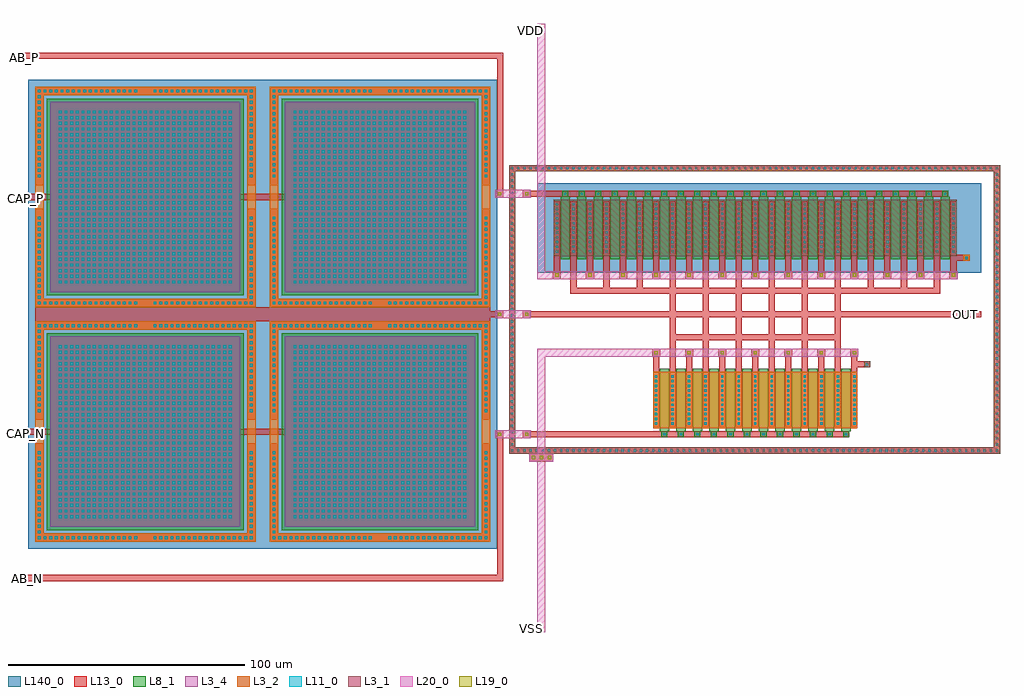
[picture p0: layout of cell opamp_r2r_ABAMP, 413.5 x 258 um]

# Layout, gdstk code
from math import pi, radians
import gdstk
lib = gdstk.Library(unit=1e-6, precision=1e-07)
def R(c, l, rs):  # rectangles x0, y0, x1, y1
    for r in rs: c.add(gdstk.rectangle(r[:2], r[2:], *l))
def A(c, l, x, y, w, h, nx, ny, dx, dy):  # array of equal rectangles
    R(c, l, [(x+i*dx, y+j*dy, x+i*dx+w, y+j*dy+h) for i in range(nx) for j in range(ny)])
def P(c, l, *ps):  # polygons
    for p in ps: c.add(gdstk.Polygon(p, *l))
L3_1 = (3, 1)
L3_2 = (3, 2)
L3_4 = (3, 4)
L8_1 = (8, 1)
L11_0 = (11, 0)
L13_0 = (13, 0)
L19_0 = (19, 0)
L20_0 = (20, 0)
L140_0 = (140, 0)

via_1 = lib.new_cell('via_1')
R(via_1, L13_0, [(-1.7,-1.7,1.7,1.7)])
R(via_1, L19_0, [(-0.7,-0.7,0.7,0.7)])
R(via_1, L20_0, [(-1.7,-1.7,1.7,1.7)])

cont_p = lib.new_cell('cont_p')
R(cont_p, L3_1, [(-1.3,-1.3,1.3,1.3)])
R(cont_p, L11_0, [(-0.5,-0.5,0.5,0.5)])
R(cont_p, L13_0, [(-1.3,-1.3,1.3,1.3)])

fet_p = lib.new_cell('fet_p')
R(fet_p, L3_1, [(-85.3,-12,85.3,12)])
A(fet_p, L11_0, -84.5, -10.5, 1, 1, 25, 11, 7, 2)
A(fet_p, L13_0, -85.3, -11.3, 2.6, 22.6, 25, 1, 7, 0)
fet_p.add(gdstk.FlexPath([(3.5,-13.2),(3.5,13.2)], 4, ends="flush", simple_path=True, layer=8, datatype=1))  # L8_1
fet_p.add(gdstk.FlexPath([(-3.5,-13.2),(-3.5,13.2)], 4, ends="flush", simple_path=True, layer=8, datatype=1))  # L8_1
fet_p.add(gdstk.FlexPath([(10.5,-13.2),(10.5,13.2)], 4, ends="flush", simple_path=True, layer=8, datatype=1))  # L8_1
fet_p.add(gdstk.FlexPath([(-10.5,-13.2),(-10.5,13.2)], 4, ends="flush", simple_path=True, layer=8, datatype=1))  # L8_1
fet_p.add(gdstk.FlexPath([(17.5,-13.2),(17.5,13.2)], 4, ends="flush", simple_path=True, layer=8, datatype=1))  # L8_1
fet_p.add(gdstk.FlexPath([(-17.5,-13.2),(-17.5,13.2)], 4, ends="flush", simple_path=True, layer=8, datatype=1))  # L8_1
fet_p.add(gdstk.FlexPath([(24.5,-13.2),(24.5,13.2)], 4, ends="flush", simple_path=True, layer=8, datatype=1))  # L8_1
fet_p.add(gdstk.FlexPath([(-24.5,-13.2),(-24.5,13.2)], 4, ends="flush", simple_path=True, layer=8, datatype=1))  # L8_1
fet_p.add(gdstk.FlexPath([(31.5,-13.2),(31.5,13.2)], 4, ends="flush", simple_path=True, layer=8, datatype=1))  # L8_1
fet_p.add(gdstk.FlexPath([(-31.5,-13.2),(-31.5,13.2)], 4, ends="flush", simple_path=True, layer=8, datatype=1))  # L8_1
fet_p.add(gdstk.FlexPath([(38.5,-13.2),(38.5,13.2)], 4, ends="flush", simple_path=True, layer=8, datatype=1))  # L8_1
fet_p.add(gdstk.FlexPath([(-38.5,-13.2),(-38.5,13.2)], 4, ends="flush", simple_path=True, layer=8, datatype=1))  # L8_1
fet_p.add(gdstk.FlexPath([(45.5,-13.2),(45.5,13.2)], 4, ends="flush", simple_path=True, layer=8, datatype=1))  # L8_1
fet_p.add(gdstk.FlexPath([(-45.5,-13.2),(-45.5,13.2)], 4, ends="flush", simple_path=True, layer=8, datatype=1))  # L8_1
fet_p.add(gdstk.FlexPath([(52.5,-13.2),(52.5,13.2)], 4, ends="flush", simple_path=True, layer=8, datatype=1))  # L8_1
fet_p.add(gdstk.FlexPath([(-52.5,-13.2),(-52.5,13.2)], 4, ends="flush", simple_path=True, layer=8, datatype=1))  # L8_1
fet_p.add(gdstk.FlexPath([(59.5,-13.2),(59.5,13.2)], 4, ends="flush", simple_path=True, layer=8, datatype=1))  # L8_1
fet_p.add(gdstk.FlexPath([(-59.5,-13.2),(-59.5,13.2)], 4, ends="flush", simple_path=True, layer=8, datatype=1))  # L8_1
fet_p.add(gdstk.FlexPath([(66.5,-13.2),(66.5,13.2)], 4, ends="flush", simple_path=True, layer=8, datatype=1))  # L8_1
fet_p.add(gdstk.FlexPath([(-66.5,-13.2),(-66.5,13.2)], 4, ends="flush", simple_path=True, layer=8, datatype=1))  # L8_1
fet_p.add(gdstk.FlexPath([(73.5,-13.2),(73.5,13.2)], 4, ends="flush", simple_path=True, layer=8, datatype=1))  # L8_1
fet_p.add(gdstk.FlexPath([(-73.5,-13.2),(-73.5,13.2)], 4, ends="flush", simple_path=True, layer=8, datatype=1))  # L8_1
fet_p.add(gdstk.FlexPath([(80.5,-13.2),(80.5,13.2)], 4, ends="flush", simple_path=True, layer=8, datatype=1))  # L8_1
fet_p.add(gdstk.FlexPath([(-80.5,-13.2),(-80.5,13.2)], 4, ends="flush", simple_path=True, layer=8, datatype=1))  # L8_1

cont_g = lib.new_cell('cont_g')
R(cont_g, L8_1, [(-1.3,-1.3,1.3,1.3)])
R(cont_g, L11_0, [(-0.5,-0.5,0.5,0.5)])
R(cont_g, L13_0, [(-1.3,-1.3,1.3,1.3)])

cont_n = lib.new_cell('cont_n')
R(cont_n, L3_2, [(-1.3,-1.3,1.3,1.3)])
R(cont_n, L11_0, [(-0.5,-0.5,0.5,0.5)])
R(cont_n, L13_0, [(-1.3,-1.3,1.3,1.3)])

moscap = lib.new_cell('moscap')
P(moscap, L3_2, [(-46.7,-46.7),(-46.7,43.1),(-43.1,43.1),(-43.1,-43.1),(43.1,-43.1),(43.1,43.1),(-46.7,43.1),(-46.7,46.7),(46.7,46.7),(46.7,-46.7)])
R(moscap, L3_4, [(-40.3,-40.3,40.3,40.3)])
R(moscap, L8_1, [(-41.7,-41.7,41.7,41.7)])
A(moscap, L11_0, -45.5, -45.5, 1.2, 1.2, 1, 18, 0, 2.4)
A(moscap, L11_0, -45.5, -45.5, 1.2, 1.2, 16, 2, 2.4, 89.8)
A(moscap, L11_0, 8.3, -45.5, 1.2, 1.2, 16, 2, 2.4, 89.8)
A(moscap, L11_0, 44.3, -45.5, 1.2, 1.2, 1, 18, 0, 2.4)
A(moscap, L11_0, -36.6, -36.6, 1.2, 1.2, 31, 31, 2.4, 2.4)
A(moscap, L11_0, -45.5, 3.5, 1.2, 1.2, 1, 18, 0, 2.4)
A(moscap, L11_0, 44.3, 3.5, 1.2, 1.2, 1, 18, 0, 2.4)
R(moscap, L13_0, [(-40.3,-40.3,40.3,40.3)])
P(moscap, L13_0, [(-46.7,-46.7),(-46.7,46.7),(-5,46.7),(-5,43.1),(-43.1,43.1),(-43.1,-43.1),(-5,-43.1),(-5,-46.7)],
  [(5,-46.7),(5,-43.1),(43.1,-43.1),(43.1,43.1),(5,43.1),(5,46.7),(46.7,46.7),(46.7,-46.7)])
R(moscap, L140_0, [(-49.7,-49.7,49.7,49.7)])

fet_n = lib.new_cell('fet_n')
R(fet_n, L3_2, [(-43.3,-12,43.3,12)])
A(fet_n, L11_0, -42.5, -10.5, 1, 1, 13, 11, 7, 2)
A(fet_n, L13_0, -43.3, -11.3, 2.6, 22.6, 13, 1, 7, 0)
fet_n.add(gdstk.FlexPath([(3.5,-13.2),(3.5,13.2)], 4, ends="flush", simple_path=True, layer=8, datatype=1))  # L8_1
fet_n.add(gdstk.FlexPath([(-3.5,-13.2),(-3.5,13.2)], 4, ends="flush", simple_path=True, layer=8, datatype=1))  # L8_1
fet_n.add(gdstk.FlexPath([(10.5,-13.2),(10.5,13.2)], 4, ends="flush", simple_path=True, layer=8, datatype=1))  # L8_1
fet_n.add(gdstk.FlexPath([(-10.5,-13.2),(-10.5,13.2)], 4, ends="flush", simple_path=True, layer=8, datatype=1))  # L8_1
fet_n.add(gdstk.FlexPath([(17.5,-13.2),(17.5,13.2)], 4, ends="flush", simple_path=True, layer=8, datatype=1))  # L8_1
fet_n.add(gdstk.FlexPath([(-17.5,-13.2),(-17.5,13.2)], 4, ends="flush", simple_path=True, layer=8, datatype=1))  # L8_1
fet_n.add(gdstk.FlexPath([(24.5,-13.2),(24.5,13.2)], 4, ends="flush", simple_path=True, layer=8, datatype=1))  # L8_1
fet_n.add(gdstk.FlexPath([(-24.5,-13.2),(-24.5,13.2)], 4, ends="flush", simple_path=True, layer=8, datatype=1))  # L8_1
fet_n.add(gdstk.FlexPath([(31.5,-13.2),(31.5,13.2)], 4, ends="flush", simple_path=True, layer=8, datatype=1))  # L8_1
fet_n.add(gdstk.FlexPath([(-31.5,-13.2),(-31.5,13.2)], 4, ends="flush", simple_path=True, layer=8, datatype=1))  # L8_1
fet_n.add(gdstk.FlexPath([(38.5,-13.2),(38.5,13.2)], 4, ends="flush", simple_path=True, layer=8, datatype=1))  # L8_1
fet_n.add(gdstk.FlexPath([(-38.5,-13.2),(-38.5,13.2)], 4, ends="flush", simple_path=True, layer=8, datatype=1))  # L8_1

opamp_r2r_abamp = lib.new_cell('opamp_r2r_ABAMP')
R(opamp_r2r_abamp, L13_0, [(-255.7,-18,-62.9,-12)])
R(opamp_r2r_abamp, L140_0, [(-42.9,2.6,145.2,40.6)])
opamp_r2r_abamp.add(gdstk.FlexPath([(-27.6,10.3),(-27.6,-3.7)], 2.6, ends="flush", simple_path=True, layer=13, datatype=0))  # L13_0
opamp_r2r_abamp.add(gdstk.FlexPath([(-13.6,10.3),(-13.6,-3.7)], 2.6, ends="flush", simple_path=True, layer=13, datatype=0))  # L13_0
opamp_r2r_abamp.add(gdstk.FlexPath([(0.4,10.3),(0.4,-3.7)], 2.6, ends="flush", simple_path=True, layer=13, datatype=0))  # L13_0
opamp_r2r_abamp.add(gdstk.FlexPath([(14.4,10.3),(14.4,-3.7)], 2.6, ends="flush", simple_path=True, layer=13, datatype=0))  # L13_0
opamp_r2r_abamp.add(gdstk.FlexPath([(28.4,10.3),(28.4,-3.7)], 2.6, ends="flush", simple_path=True, layer=13, datatype=0))  # L13_0
opamp_r2r_abamp.add(gdstk.FlexPath([(42.4,10.3),(42.4,-3.7)], 2.6, ends="flush", simple_path=True, layer=13, datatype=0))  # L13_0
opamp_r2r_abamp.add(gdstk.FlexPath([(56.4,10.3),(56.4,-3.7)], 2.6, ends="flush", simple_path=True, layer=13, datatype=0))  # L13_0
opamp_r2r_abamp.add(gdstk.FlexPath([(70.4,10.3),(70.4,-3.7)], 2.6, ends="flush", simple_path=True, layer=13, datatype=0))  # L13_0
opamp_r2r_abamp.add(gdstk.FlexPath([(84.4,10.3),(84.4,-3.7)], 2.6, ends="flush", simple_path=True, layer=13, datatype=0))  # L13_0
opamp_r2r_abamp.add(gdstk.FlexPath([(98.4,10.3),(98.4,-3.7)], 2.6, ends="flush", simple_path=True, layer=13, datatype=0))  # L13_0
opamp_r2r_abamp.add(gdstk.FlexPath([(112.4,10.3),(112.4,-3.7)], 2.6, ends="flush", simple_path=True, layer=13, datatype=0))  # L13_0
opamp_r2r_abamp.add(gdstk.FlexPath([(126.4,10.3),(126.4,-3.7)], 2.6, ends="flush", simple_path=True, layer=13, datatype=0))  # L13_0
opamp_r2r_abamp.add(gdstk.FlexPath([(7.4,-33),(7.4,-40)], 2.6, ends="flush", simple_path=True, layer=13, datatype=0))  # L13_0
opamp_r2r_abamp.add(gdstk.FlexPath([(21.4,-33),(21.4,-40)], 2.6, ends="flush", simple_path=True, layer=13, datatype=0))  # L13_0
opamp_r2r_abamp.add(gdstk.FlexPath([(35.4,-33),(35.4,-40)], 2.6, ends="flush", simple_path=True, layer=13, datatype=0))  # L13_0
opamp_r2r_abamp.add(gdstk.FlexPath([(49.4,-33),(49.4,-40)], 2.6, ends="flush", simple_path=True, layer=13, datatype=0))  # L13_0
opamp_r2r_abamp.add(gdstk.FlexPath([(63.4,-33),(63.4,-40)], 2.6, ends="flush", simple_path=True, layer=13, datatype=0))  # L13_0
opamp_r2r_abamp.add(gdstk.FlexPath([(77.4,-33),(77.4,-40)], 2.6, ends="flush", simple_path=True, layer=13, datatype=0))  # L13_0
opamp_r2r_abamp.add(gdstk.FlexPath([(91.4,-33),(91.4,-40)], 2.6, ends="flush", simple_path=True, layer=13, datatype=0))  # L13_0
opamp_r2r_abamp.add(gdstk.FlexPath([(14.4,-26),(14.4,-40)], 2.6, ends="flush", simple_path=True, layer=13, datatype=0))  # L13_0
opamp_r2r_abamp.add(gdstk.FlexPath([(28.4,-26),(28.4,-40)], 2.6, ends="flush", simple_path=True, layer=13, datatype=0))  # L13_0
opamp_r2r_abamp.add(gdstk.FlexPath([(42.4,-26),(42.4,-40)], 2.6, ends="flush", simple_path=True, layer=13, datatype=0))  # L13_0
opamp_r2r_abamp.add(gdstk.FlexPath([(56.4,-26),(56.4,-40)], 2.6, ends="flush", simple_path=True, layer=13, datatype=0))  # L13_0
opamp_r2r_abamp.add(gdstk.FlexPath([(70.4,-26),(70.4,-40)], 2.6, ends="flush", simple_path=True, layer=13, datatype=0))  # L13_0
opamp_r2r_abamp.add(gdstk.FlexPath([(84.4,-26),(84.4,-40)], 2.6, ends="flush", simple_path=True, layer=13, datatype=0))  # L13_0
opamp_r2r_abamp.add(gdstk.FlexPath([(-32.4,36.1),(131.2,36.1)], 2.6, ends="flush", simple_path=True, layer=13, datatype=0))  # L13_0
opamp_r2r_abamp.add(gdstk.FlexPath([(9.6,-65.8),(89.2,-65.8)], 2.6, ends="flush", simple_path=True, layer=13, datatype=0))  # L13_0
opamp_r2r_abamp.add(gdstk.FlexPath([(127.7,-5),(-28.9,-5)], 2.6, ends="flush", simple_path=True, layer=13, datatype=0))  # L13_0
opamp_r2r_abamp.add(gdstk.FlexPath([(13.1,-24.7),(85.7,-24.7)], 2.6, ends="flush", simple_path=True, layer=13, datatype=0))  # L13_0
opamp_r2r_abamp.add(gdstk.FlexPath([(14.4,-3.7),(14.4,-26)], 2.6, ends="flush", simple_path=True, layer=13, datatype=0))  # L13_0
opamp_r2r_abamp.add(gdstk.FlexPath([(28.4,-3.7),(28.4,-26)], 2.6, ends="flush", simple_path=True, layer=13, datatype=0))  # L13_0
opamp_r2r_abamp.add(gdstk.FlexPath([(42.4,-3.7),(42.4,-26)], 2.6, ends="flush", simple_path=True, layer=13, datatype=0))  # L13_0
opamp_r2r_abamp.add(gdstk.FlexPath([(56.4,-3.7),(56.4,-26)], 2.6, ends="flush", simple_path=True, layer=13, datatype=0))  # L13_0
opamp_r2r_abamp.add(gdstk.FlexPath([(70.4,-3.7),(70.4,-26)], 2.6, ends="flush", simple_path=True, layer=13, datatype=0))  # L13_0
opamp_r2r_abamp.add(gdstk.FlexPath([(84.4,-3.7),(84.4,-26)], 2.6, ends="flush", simple_path=True, layer=13, datatype=0))  # L13_0
opamp_r2r_abamp.add(gdstk.FlexPath([(13.1,-15),(145.1,-15)], 2.6, ends="flush", simple_path=True, layer=13, datatype=0))  # L13_0
opamp_r2r_abamp.add(gdstk.FlexPath([(98.1,-36.2),(92.7,-36.2)], 2.6, ends="flush", simple_path=True, layer=13, datatype=0))  # L13_0
opamp_r2r_abamp.add(gdstk.FlexPath([(140.2,8.9),(134.7,8.9)], 2.6, ends="flush", simple_path=True, layer=13, datatype=0))  # L13_0
opamp_r2r_abamp.add(gdstk.FlexPath([(-34.6,10.3),(-34.6,3.3)], 2.6, ends="flush", simple_path=True, layer=13, datatype=0))  # L13_0
opamp_r2r_abamp.add(gdstk.FlexPath([(-20.6,10.3),(-20.6,3.3)], 2.6, ends="flush", simple_path=True, layer=13, datatype=0))  # L13_0
opamp_r2r_abamp.add(gdstk.FlexPath([(-6.6,10.3),(-6.6,3.3)], 2.6, ends="flush", simple_path=True, layer=13, datatype=0))  # L13_0
opamp_r2r_abamp.add(gdstk.FlexPath([(7.4,10.3),(7.4,3.3)], 2.6, ends="flush", simple_path=True, layer=13, datatype=0))  # L13_0
opamp_r2r_abamp.add(gdstk.FlexPath([(21.4,10.3),(21.4,3.3)], 2.6, ends="flush", simple_path=True, layer=13, datatype=0))  # L13_0
opamp_r2r_abamp.add(gdstk.FlexPath([(35.4,10.3),(35.4,3.3)], 2.6, ends="flush", simple_path=True, layer=13, datatype=0))  # L13_0
opamp_r2r_abamp.add(gdstk.FlexPath([(49.4,10.3),(49.4,3.3)], 2.6, ends="flush", simple_path=True, layer=13, datatype=0))  # L13_0
opamp_r2r_abamp.add(gdstk.FlexPath([(63.4,10.3),(63.4,3.3)], 2.6, ends="flush", simple_path=True, layer=13, datatype=0))  # L13_0
opamp_r2r_abamp.add(gdstk.FlexPath([(77.4,10.3),(77.4,3.3)], 2.6, ends="flush", simple_path=True, layer=13, datatype=0))  # L13_0
opamp_r2r_abamp.add(gdstk.FlexPath([(91.4,10.3),(91.4,3.3)], 2.6, ends="flush", simple_path=True, layer=13, datatype=0))  # L13_0
opamp_r2r_abamp.add(gdstk.FlexPath([(105.4,10.3),(105.4,3.3)], 2.6, ends="flush", simple_path=True, layer=13, datatype=0))  # L13_0
opamp_r2r_abamp.add(gdstk.FlexPath([(119.4,10.3),(119.4,3.3)], 2.6, ends="flush", simple_path=True, layer=13, datatype=0))  # L13_0
opamp_r2r_abamp.add(gdstk.FlexPath([(133.4,10.3),(133.4,3.3)], 2.6, ends="flush", simple_path=True, layer=13, datatype=0))  # L13_0
opamp_r2r_abamp.add(gdstk.FlexPath([(24.7,-15),(-49.1,-15)], 2.6, ends="flush", simple_path=True, layer=13, datatype=0))  # L13_0
opamp_r2r_abamp.add(gdstk.FlexPath([(-32.4,36.1),(-49.1,36.1)], 2.6, ends="flush", simple_path=True, layer=13, datatype=0))  # L13_0
opamp_r2r_abamp.add(gdstk.FlexPath([(-260.4,94.6),(-58.6,94.6),(-58.6,36.2)], 2.6, ends="flush", simple_path=True, layer=13, datatype=0))  # L13_0
opamp_r2r_abamp.add(gdstk.FlexPath([(-57.3,-15),(-68,-15)], 2.6, ends="flush", simple_path=True, layer=13, datatype=0))  # L13_0
opamp_r2r_abamp.add(gdstk.FlexPath([(-260.4,-126.7),(-58.6,-126.7),(-58.6,-65.8)], 2.6, ends="flush", simple_path=True, layer=13, datatype=0))  # L13_0
opamp_r2r_abamp.add(gdstk.FlexPath([(-49.1,-65.8),(9.6,-65.8)], 2.6, ends="flush", simple_path=True, layer=13, datatype=0))  # L13_0
opamp_r2r_abamp.add(gdstk.FlexPath([(-69.2,34.7),(-260.4,34.7)], 2.6, ends="flush", simple_path=True, layer=13, datatype=0))  # L13_0
opamp_r2r_abamp.add(gdstk.FlexPath([(-69.2,-64.7),(-260.4,-64.7)], 2.6, ends="flush", simple_path=True, layer=13, datatype=0))  # L13_0
opamp_r2r_abamp.add(gdstk.FlexPath([(-36.3,1.6),(135.1,1.6)], 3.4, ends="flush", simple_path=True, layer=20, datatype=0))  # L20_0
opamp_r2r_abamp.add(gdstk.FlexPath([(5.7,-31.3),(93.1,-31.3)], 3.4, ends="flush", simple_path=True, layer=20, datatype=0))  # L20_0
opamp_r2r_abamp.add(gdstk.FlexPath([(-36.3,1.6),(-41.2,1.6),(-41.2,108.2)], 3.4, ends="flush", simple_path=True, layer=20, datatype=0))  # L20_0
opamp_r2r_abamp.add(gdstk.FlexPath([(5.7,-31.3),(-41.2,-31.3),(-41.2,-149.8)], 3.4, ends="flush", simple_path=True, layer=20, datatype=0))  # L20_0
opamp_r2r_abamp.add(gdstk.FlexPath([(-45.7,36.1),(-60.7,36.1)], 3.4, ends="flush", simple_path=True, layer=20, datatype=0))  # L20_0
opamp_r2r_abamp.add(gdstk.FlexPath([(-45.7,-15),(-60.7,-15)], 3.4, ends="flush", simple_path=True, layer=20, datatype=0))  # L20_0
opamp_r2r_abamp.add(gdstk.FlexPath([(-45.7,-65.8),(-60.7,-65.8)], 3.4, ends="flush", simple_path=True, layer=20, datatype=0))  # L20_0
opamp_r2r_abamp.add(gdstk.Reference(via_1, (-47.4,-15)))
opamp_r2r_abamp.add(gdstk.Reference(via_1, (-59,-15)))
opamp_r2r_abamp.add(gdstk.Reference(cont_p, (-53.6,46.9)))
opamp_r2r_abamp.add(gdstk.Reference(cont_p, (-53.6,44.3)))
opamp_r2r_abamp.add(gdstk.Reference(cont_p, (-53.6,41.7)))
opamp_r2r_abamp.add(gdstk.Reference(cont_p, (-53.6,39.1)))
opamp_r2r_abamp.add(gdstk.Reference(cont_p, (-53.6,36.5)))
opamp_r2r_abamp.add(gdstk.Reference(cont_p, (-53.6,33.9)))
opamp_r2r_abamp.add(gdstk.Reference(cont_p, (-53.6,31.3)))
opamp_r2r_abamp.add(gdstk.Reference(cont_p, (-53.6,28.7)))
opamp_r2r_abamp.add(gdstk.Reference(cont_p, (-53.6,26.1)))
opamp_r2r_abamp.add(gdstk.Reference(cont_p, (-53.6,23.5)))
opamp_r2r_abamp.add(gdstk.Reference(cont_p, (-53.6,20.9)))
opamp_r2r_abamp.add(gdstk.Reference(cont_p, (-53.6,18.3)))
opamp_r2r_abamp.add(gdstk.Reference(cont_p, (-53.6,15.7)))
opamp_r2r_abamp.add(gdstk.Reference(cont_p, (-53.6,13.1)))
opamp_r2r_abamp.add(gdstk.Reference(cont_p, (-53.6,10.5)))
opamp_r2r_abamp.add(gdstk.Reference(cont_p, (-53.6,7.9)))
opamp_r2r_abamp.add(gdstk.Reference(cont_p, (-53.6,5.3)))
opamp_r2r_abamp.add(gdstk.Reference(cont_p, (-53.6,2.7)))
opamp_r2r_abamp.add(gdstk.Reference(cont_p, (-53.6,0.1)))
opamp_r2r_abamp.add(gdstk.Reference(cont_p, (-53.6,-2.5)))
opamp_r2r_abamp.add(gdstk.Reference(cont_p, (-53.6,-5.1)))
opamp_r2r_abamp.add(gdstk.Reference(cont_p, (-53.6,-7.7)))
opamp_r2r_abamp.add(gdstk.Reference(cont_p, (-53.6,-10.3)))
opamp_r2r_abamp.add(gdstk.Reference(cont_p, (-53.6,-12.9)))
opamp_r2r_abamp.add(gdstk.Reference(cont_p, (-53.6,-15.5)))
opamp_r2r_abamp.add(gdstk.Reference(cont_p, (-53.6,-18.1)))
opamp_r2r_abamp.add(gdstk.Reference(cont_p, (-53.6,-20.7)))
opamp_r2r_abamp.add(gdstk.Reference(cont_p, (-53.6,-23.3)))
opamp_r2r_abamp.add(gdstk.Reference(cont_p, (-53.6,-25.9)))
opamp_r2r_abamp.add(gdstk.Reference(cont_p, (-53.6,-28.5)))
opamp_r2r_abamp.add(gdstk.Reference(cont_p, (-53.6,-31.1)))
opamp_r2r_abamp.add(gdstk.Reference(cont_p, (-53.6,-33.7)))
opamp_r2r_abamp.add(gdstk.Reference(cont_p, (-53.6,-36.3)))
opamp_r2r_abamp.add(gdstk.Reference(cont_p, (-53.6,-38.9)))
opamp_r2r_abamp.add(gdstk.Reference(cont_p, (-53.6,-41.5)))
opamp_r2r_abamp.add(gdstk.Reference(cont_p, (-53.6,-44.1)))
opamp_r2r_abamp.add(gdstk.Reference(cont_p, (-53.6,-46.7)))
opamp_r2r_abamp.add(gdstk.Reference(cont_p, (-53.6,-49.3)))
opamp_r2r_abamp.add(gdstk.Reference(cont_p, (-53.6,-51.9)))
opamp_r2r_abamp.add(gdstk.Reference(cont_p, (-53.6,-54.5)))
opamp_r2r_abamp.add(gdstk.Reference(cont_p, (-53.6,-57.1)))
opamp_r2r_abamp.add(gdstk.Reference(cont_p, (-53.6,-59.7)))
opamp_r2r_abamp.add(gdstk.Reference(cont_p, (-53.6,-62.3)))
opamp_r2r_abamp.add(gdstk.Reference(cont_p, (-53.6,-64.9)))
opamp_r2r_abamp.add(gdstk.Reference(cont_p, (-53.6,-67.5)))
opamp_r2r_abamp.add(gdstk.Reference(cont_p, (-53.6,-70.1)))
opamp_r2r_abamp.add(gdstk.Reference(cont_p, (-53.6,-72.7)))
opamp_r2r_abamp.add(gdstk.Reference(cont_p, (151.8,-15.5)))
opamp_r2r_abamp.add(gdstk.Reference(cont_p, (50.4,46.9)))
opamp_r2r_abamp.add(gdstk.Reference(via_1, (49.4,1.6)))
opamp_r2r_abamp.add(gdstk.Reference(via_1, (-47.4,36.1)))
opamp_r2r_abamp.add(gdstk.Reference(fet_p, (49.4,21.6)))
opamp_r2r_abamp.add(gdstk.Reference(cont_p, (151.8,33.9)))
opamp_r2r_abamp.add(gdstk.Reference(cont_p, (63.4,46.9)))
opamp_r2r_abamp.add(gdstk.Reference(cont_p, (66,46.9)))
opamp_r2r_abamp.add(gdstk.Reference(cont_p, (68.6,46.9)))
opamp_r2r_abamp.add(gdstk.Reference(cont_p, (71.2,46.9)))
opamp_r2r_abamp.add(gdstk.Reference(cont_p, (73.8,46.9)))
opamp_r2r_abamp.add(gdstk.Reference(cont_p, (76.4,46.9)))
opamp_r2r_abamp.add(gdstk.Reference(cont_p, (79,46.9)))
opamp_r2r_abamp.add(gdstk.Reference(cont_p, (81.6,46.9)))
opamp_r2r_abamp.add(gdstk.Reference(cont_p, (84.2,46.9)))
opamp_r2r_abamp.add(gdstk.Reference(cont_p, (86.8,46.9)))
opamp_r2r_abamp.add(gdstk.Reference(cont_p, (89.4,46.9)))
opamp_r2r_abamp.add(gdstk.Reference(cont_p, (92,46.9)))
opamp_r2r_abamp.add(gdstk.Reference(cont_p, (94.6,46.9)))
opamp_r2r_abamp.add(gdstk.Reference(cont_p, (97.2,46.9)))
opamp_r2r_abamp.add(gdstk.Reference(cont_p, (99.8,46.9)))
opamp_r2r_abamp.add(gdstk.Reference(cont_p, (102.4,46.9)))
opamp_r2r_abamp.add(gdstk.Reference(cont_p, (105,46.9)))
opamp_r2r_abamp.add(gdstk.Reference(cont_p, (107.6,46.9)))
opamp_r2r_abamp.add(gdstk.Reference(cont_p, (110.2,46.9)))
opamp_r2r_abamp.add(gdstk.Reference(cont_p, (112.8,46.9)))
opamp_r2r_abamp.add(gdstk.Reference(cont_p, (115.4,46.9)))
opamp_r2r_abamp.add(gdstk.Reference(cont_p, (118,46.9)))
opamp_r2r_abamp.add(gdstk.Reference(cont_p, (120.6,46.9)))
opamp_r2r_abamp.add(gdstk.Reference(cont_p, (123.2,46.9)))
opamp_r2r_abamp.add(gdstk.Reference(cont_p, (125.8,46.9)))
opamp_r2r_abamp.add(gdstk.Reference(cont_p, (128.4,46.9)))
opamp_r2r_abamp.add(gdstk.Reference(cont_p, (131,46.9)))
opamp_r2r_abamp.add(gdstk.Reference(cont_p, (133.6,46.9)))
opamp_r2r_abamp.add(gdstk.Reference(cont_p, (136.2,46.9)))
opamp_r2r_abamp.add(gdstk.Reference(cont_p, (138.8,46.9)))
opamp_r2r_abamp.add(gdstk.Reference(cont_p, (141.4,46.9)))
opamp_r2r_abamp.add(gdstk.Reference(cont_p, (144,46.9)))
opamp_r2r_abamp.add(gdstk.Reference(cont_p, (146.6,46.9)))
opamp_r2r_abamp.add(gdstk.Reference(cont_p, (149.2,46.9)))
opamp_r2r_abamp.add(gdstk.Reference(cont_p, (151.8,46.9)))
opamp_r2r_abamp.add(gdstk.Reference(cont_g, (52.9,36.1)))
opamp_r2r_abamp.add(gdstk.Reference(cont_g, (66.9,36.1)))
opamp_r2r_abamp.add(gdstk.Reference(cont_g, (80.9,36.1)))
opamp_r2r_abamp.add(gdstk.Reference(cont_g, (94.9,36.1)))
opamp_r2r_abamp.add(gdstk.Reference(cont_g, (108.9,36.1)))
opamp_r2r_abamp.add(gdstk.Reference(cont_g, (122.9,36.1)))
opamp_r2r_abamp.add(gdstk.Reference(cont_g, (59.9,36.1)))
opamp_r2r_abamp.add(gdstk.Reference(cont_g, (73.9,36.1)))
opamp_r2r_abamp.add(gdstk.Reference(cont_g, (87.9,36.1)))
opamp_r2r_abamp.add(gdstk.Reference(cont_g, (101.9,36.1)))
opamp_r2r_abamp.add(gdstk.Reference(cont_g, (115.9,36.1)))
opamp_r2r_abamp.add(gdstk.Reference(cont_g, (129.9,36.1)))
opamp_r2r_abamp.add(gdstk.Reference(cont_p, (53,46.9)))
opamp_r2r_abamp.add(gdstk.Reference(cont_p, (55.6,46.9)))
opamp_r2r_abamp.add(gdstk.Reference(cont_p, (58.2,46.9)))
opamp_r2r_abamp.add(gdstk.Reference(cont_p, (151.8,44.3)))
opamp_r2r_abamp.add(gdstk.Reference(cont_p, (151.8,41.7)))
opamp_r2r_abamp.add(gdstk.Reference(cont_p, (151.8,39.1)))
opamp_r2r_abamp.add(gdstk.Reference(cont_p, (151.8,36.5)))
opamp_r2r_abamp.add(gdstk.Reference(cont_p, (60.8,46.9)))
opamp_r2r_abamp.add(gdstk.Reference(cont_p, (45.2,46.9)))
opamp_r2r_abamp.add(gdstk.Reference(cont_p, (47.8,46.9)))
opamp_r2r_abamp.add(gdstk.Reference(cont_p, (-30.2,46.9)))
opamp_r2r_abamp.add(gdstk.Reference(cont_p, (-27.6,46.9)))
opamp_r2r_abamp.add(gdstk.Reference(cont_p, (-25,46.9)))
opamp_r2r_abamp.add(gdstk.Reference(cont_p, (-22.4,46.9)))
opamp_r2r_abamp.add(gdstk.Reference(cont_p, (-19.8,46.9)))
opamp_r2r_abamp.add(gdstk.Reference(cont_p, (-17.2,46.9)))
opamp_r2r_abamp.add(gdstk.Reference(cont_p, (-14.6,46.9)))
opamp_r2r_abamp.add(gdstk.Reference(cont_p, (-12,46.9)))
opamp_r2r_abamp.add(gdstk.Reference(cont_p, (-9.4,46.9)))
opamp_r2r_abamp.add(gdstk.Reference(cont_g, (-17.1,36.1)))
opamp_r2r_abamp.add(gdstk.Reference(cont_g, (-3.1,36.1)))
opamp_r2r_abamp.add(gdstk.Reference(cont_g, (10.9,36.1)))
opamp_r2r_abamp.add(gdstk.Reference(cont_g, (24.9,36.1)))
opamp_r2r_abamp.add(gdstk.Reference(cont_g, (38.9,36.1)))
opamp_r2r_abamp.add(gdstk.Reference(cont_p, (-6.8,46.9)))
opamp_r2r_abamp.add(gdstk.Reference(cont_p, (-4.2,46.9)))
opamp_r2r_abamp.add(gdstk.Reference(cont_p, (-1.6,46.9)))
opamp_r2r_abamp.add(gdstk.Reference(cont_p, (1,46.9)))
opamp_r2r_abamp.add(gdstk.Reference(cont_p, (3.6,46.9)))
opamp_r2r_abamp.add(gdstk.Reference(cont_p, (6.2,46.9)))
opamp_r2r_abamp.add(gdstk.Reference(cont_g, (-24.1,36.1)))
opamp_r2r_abamp.add(gdstk.Reference(cont_g, (-10.1,36.1)))
opamp_r2r_abamp.add(gdstk.Reference(cont_g, (3.9,36.1)))
opamp_r2r_abamp.add(gdstk.Reference(cont_g, (17.9,36.1)))
opamp_r2r_abamp.add(gdstk.Reference(cont_g, (31.9,36.1)))
opamp_r2r_abamp.add(gdstk.Reference(cont_g, (45.9,36.1)))
opamp_r2r_abamp.add(gdstk.Reference(cont_p, (8.8,46.9)))
opamp_r2r_abamp.add(gdstk.Reference(cont_p, (11.4,46.9)))
opamp_r2r_abamp.add(gdstk.Reference(cont_p, (14,46.9)))
opamp_r2r_abamp.add(gdstk.Reference(cont_p, (16.6,46.9)))
opamp_r2r_abamp.add(gdstk.Reference(cont_p, (19.2,46.9)))
opamp_r2r_abamp.add(gdstk.Reference(cont_p, (21.8,46.9)))
opamp_r2r_abamp.add(gdstk.Reference(cont_p, (24.4,46.9)))
opamp_r2r_abamp.add(gdstk.Reference(cont_p, (27,46.9)))
opamp_r2r_abamp.add(gdstk.Reference(cont_p, (29.6,46.9)))
opamp_r2r_abamp.add(gdstk.Reference(cont_g, (-31.1,36.1)))
opamp_r2r_abamp.add(gdstk.Reference(cont_p, (-51,46.9)))
opamp_r2r_abamp.add(gdstk.Reference(cont_p, (-48.4,46.9)))
opamp_r2r_abamp.add(gdstk.Reference(cont_p, (-45.8,46.9)))
opamp_r2r_abamp.add(gdstk.Reference(cont_p, (-43.2,46.9)))
opamp_r2r_abamp.add(gdstk.Reference(cont_p, (-40.6,46.9)))
opamp_r2r_abamp.add(gdstk.Reference(cont_p, (-38,46.9)))
opamp_r2r_abamp.add(gdstk.Reference(cont_p, (-35.4,46.9)))
opamp_r2r_abamp.add(gdstk.Reference(cont_p, (32.2,46.9)))
opamp_r2r_abamp.add(gdstk.Reference(cont_p, (34.8,46.9)))
opamp_r2r_abamp.add(gdstk.Reference(cont_p, (37.4,46.9)))
opamp_r2r_abamp.add(gdstk.Reference(cont_p, (40,46.9)))
opamp_r2r_abamp.add(gdstk.Reference(cont_p, (42.6,46.9)))
opamp_r2r_abamp.add(gdstk.Reference(cont_p, (-32.8,46.9)))
opamp_r2r_abamp.add(gdstk.Reference(via_1, (35.4,1.6)))
opamp_r2r_abamp.add(gdstk.Reference(via_1, (-34.6,1.6)))
opamp_r2r_abamp.add(gdstk.Reference(via_1, (-20.6,1.6)))
opamp_r2r_abamp.add(gdstk.Reference(via_1, (-6.6,1.6)))
opamp_r2r_abamp.add(gdstk.Reference(via_1, (7.4,1.6)))
opamp_r2r_abamp.add(gdstk.Reference(via_1, (21.4,1.6)))
opamp_r2r_abamp.add(gdstk.Reference(via_1, (91.4,1.6)))
opamp_r2r_abamp.add(gdstk.Reference(via_1, (105.4,1.6)))
opamp_r2r_abamp.add(gdstk.Reference(via_1, (119.4,1.6)))
opamp_r2r_abamp.add(gdstk.Reference(via_1, (133.4,1.6)))
opamp_r2r_abamp.add(gdstk.Reference(cont_n, (138.9,8.9)))
opamp_r2r_abamp.add(gdstk.Reference(via_1, (63.4,1.6)))
opamp_r2r_abamp.add(gdstk.Reference(cont_p, (151.8,31.3)))
opamp_r2r_abamp.add(gdstk.Reference(cont_p, (151.8,28.7)))
opamp_r2r_abamp.add(gdstk.Reference(cont_p, (151.8,26.1)))
opamp_r2r_abamp.add(gdstk.Reference(cont_p, (151.8,23.5)))
opamp_r2r_abamp.add(gdstk.Reference(cont_p, (151.8,20.9)))
opamp_r2r_abamp.add(gdstk.Reference(cont_p, (151.8,18.3)))
opamp_r2r_abamp.add(gdstk.Reference(cont_p, (151.8,15.7)))
opamp_r2r_abamp.add(gdstk.Reference(cont_p, (151.8,13.1)))
opamp_r2r_abamp.add(gdstk.Reference(cont_p, (151.8,10.5)))
opamp_r2r_abamp.add(gdstk.Reference(cont_p, (151.8,7.9)))
opamp_r2r_abamp.add(gdstk.Reference(cont_p, (151.8,5.3)))
opamp_r2r_abamp.add(gdstk.Reference(cont_p, (151.8,2.7)))
opamp_r2r_abamp.add(gdstk.Reference(cont_p, (151.8,0.1)))
opamp_r2r_abamp.add(gdstk.Reference(cont_p, (151.8,-2.5)))
opamp_r2r_abamp.add(gdstk.Reference(cont_p, (151.8,-5.1)))
opamp_r2r_abamp.add(gdstk.Reference(cont_p, (151.8,-7.7)))
opamp_r2r_abamp.add(gdstk.Reference(cont_p, (151.8,-10.3)))
opamp_r2r_abamp.add(gdstk.Reference(cont_p, (151.8,-12.9)))
opamp_r2r_abamp.add(gdstk.Reference(via_1, (77.4,1.6)))
opamp_r2r_abamp.add(gdstk.Reference(moscap, (-109.6,34.7), rotation=pi/2))
opamp_r2r_abamp.add(gdstk.Reference(via_1, (-59,36.1)))
opamp_r2r_abamp.add(gdstk.Reference(moscap, (-209,34.7), rotation=pi/2))
opamp_r2r_abamp.add(gdstk.Reference(moscap, (-209,-64.7), rotation=pi/2))
opamp_r2r_abamp.add(gdstk.Reference(moscap, (-109.6,-64.7), rotation=pi/2))
opamp_r2r_abamp.add(gdstk.Reference(via_1, (-59,-65.8)))
opamp_r2r_abamp.add(gdstk.Reference(cont_g, (24.9,-65.8)))
opamp_r2r_abamp.add(gdstk.Reference(cont_g, (31.9,-65.8)))
opamp_r2r_abamp.add(gdstk.Reference(via_1, (-47.4,-65.8)))
opamp_r2r_abamp.add(gdstk.Reference(cont_g, (38.9,-65.8)))
opamp_r2r_abamp.add(gdstk.Reference(cont_g, (45.9,-65.8)))
opamp_r2r_abamp.add(gdstk.Reference(cont_g, (52.9,-65.8)))
opamp_r2r_abamp.add(gdstk.Reference(cont_g, (59.9,-65.8)))
opamp_r2r_abamp.add(gdstk.Reference(cont_g, (66.9,-65.8)))
opamp_r2r_abamp.add(gdstk.Reference(cont_g, (73.9,-65.8)))
opamp_r2r_abamp.add(gdstk.Reference(cont_g, (80.9,-65.8)))
opamp_r2r_abamp.add(gdstk.Reference(cont_g, (87.9,-65.8)))
opamp_r2r_abamp.add(gdstk.Reference(via_1, (49.4,-31.3)))
opamp_r2r_abamp.add(gdstk.Reference(fet_n, (49.4,-51.3)))
opamp_r2r_abamp.add(gdstk.Reference(cont_g, (10.9,-65.8)))
opamp_r2r_abamp.add(gdstk.Reference(cont_g, (17.9,-65.8)))
opamp_r2r_abamp.add(gdstk.Reference(cont_p, (151.8,-64.9)))
opamp_r2r_abamp.add(gdstk.Reference(cont_p, (50.4,-72.7)))
opamp_r2r_abamp.add(gdstk.Reference(via_1, (77.4,-31.3)))
opamp_r2r_abamp.add(gdstk.Reference(via_1, (91.4,-31.3)))
opamp_r2r_abamp.add(gdstk.Reference(cont_p, (151.8,-18.1)))
opamp_r2r_abamp.add(gdstk.Reference(cont_p, (151.8,-20.7)))
opamp_r2r_abamp.add(gdstk.Reference(cont_p, (151.8,-23.3)))
opamp_r2r_abamp.add(gdstk.Reference(cont_p, (151.8,-25.9)))
opamp_r2r_abamp.add(gdstk.Reference(cont_p, (151.8,-28.5)))
opamp_r2r_abamp.add(gdstk.Reference(cont_p, (151.8,-31.1)))
opamp_r2r_abamp.add(gdstk.Reference(cont_p, (151.8,-33.7)))
opamp_r2r_abamp.add(gdstk.Reference(cont_p, (151.8,-36.3)))
opamp_r2r_abamp.add(gdstk.Reference(cont_p, (151.8,-38.9)))
opamp_r2r_abamp.add(gdstk.Reference(cont_p, (151.8,-41.5)))
opamp_r2r_abamp.add(gdstk.Reference(cont_p, (151.8,-44.1)))
opamp_r2r_abamp.add(gdstk.Reference(cont_p, (151.8,-46.7)))
opamp_r2r_abamp.add(gdstk.Reference(cont_p, (151.8,-49.3)))
opamp_r2r_abamp.add(gdstk.Reference(cont_p, (151.8,-51.9)))
opamp_r2r_abamp.add(gdstk.Reference(cont_p, (151.8,-54.5)))
opamp_r2r_abamp.add(gdstk.Reference(cont_p, (151.8,-57.1)))
opamp_r2r_abamp.add(gdstk.Reference(cont_p, (151.8,-59.7)))
opamp_r2r_abamp.add(gdstk.Reference(cont_p, (151.8,-62.3)))
opamp_r2r_abamp.add(gdstk.Reference(cont_p, (96.8,-36.2)))
opamp_r2r_abamp.add(gdstk.Reference(via_1, (63.4,-31.3)))
opamp_r2r_abamp.add(gdstk.Reference(via_1, (21.4,-31.3)))
opamp_r2r_abamp.add(gdstk.Reference(via_1, (35.4,-31.3)))
opamp_r2r_abamp.add(gdstk.Reference(via_1, (7.4,-31.3)))
opamp_r2r_abamp.add(gdstk.Reference(via_1, (-37.8,-75.7)))
opamp_r2r_abamp.add(gdstk.Reference(via_1, (-44.6,-75.7)))
opamp_r2r_abamp.add(gdstk.Reference(cont_p, (-51,-72.7)))
opamp_r2r_abamp.add(gdstk.Reference(cont_p, (-48.4,-72.7)))
opamp_r2r_abamp.add(gdstk.Reference(cont_p, (-45.8,-72.7)))
opamp_r2r_abamp.add(gdstk.Reference(cont_p, (-43.2,-72.7)))
opamp_r2r_abamp.add(gdstk.Reference(cont_p, (-40.6,-72.7)))
opamp_r2r_abamp.add(gdstk.Reference(cont_p, (-38,-72.7)))
opamp_r2r_abamp.add(gdstk.Reference(cont_p, (-35.4,-72.7)))
opamp_r2r_abamp.add(gdstk.Reference(cont_p, (-32.8,-72.7)))
opamp_r2r_abamp.add(gdstk.Reference(cont_p, (-30.2,-72.7)))
opamp_r2r_abamp.add(gdstk.Reference(cont_p, (-27.6,-72.7)))
opamp_r2r_abamp.add(gdstk.Reference(cont_p, (-25,-72.7)))
opamp_r2r_abamp.add(gdstk.Reference(cont_p, (-22.4,-72.7)))
opamp_r2r_abamp.add(gdstk.Reference(cont_p, (-19.8,-72.7)))
opamp_r2r_abamp.add(gdstk.Reference(cont_p, (-17.2,-72.7)))
opamp_r2r_abamp.add(gdstk.Reference(cont_p, (-14.6,-72.7)))
opamp_r2r_abamp.add(gdstk.Reference(cont_p, (-12,-72.7)))
opamp_r2r_abamp.add(gdstk.Reference(cont_p, (-9.4,-72.7)))
opamp_r2r_abamp.add(gdstk.Reference(cont_p, (-6.8,-72.7)))
opamp_r2r_abamp.add(gdstk.Reference(cont_p, (-4.2,-72.7)))
opamp_r2r_abamp.add(gdstk.Reference(cont_p, (-1.6,-72.7)))
opamp_r2r_abamp.add(gdstk.Reference(cont_p, (1,-72.7)))
opamp_r2r_abamp.add(gdstk.Reference(cont_p, (3.6,-72.7)))
opamp_r2r_abamp.add(gdstk.Reference(cont_p, (6.2,-72.7)))
opamp_r2r_abamp.add(gdstk.Reference(cont_p, (8.8,-72.7)))
opamp_r2r_abamp.add(gdstk.Reference(cont_p, (11.4,-72.7)))
opamp_r2r_abamp.add(gdstk.Reference(cont_p, (14,-72.7)))
opamp_r2r_abamp.add(gdstk.Reference(cont_p, (16.6,-72.7)))
opamp_r2r_abamp.add(gdstk.Reference(cont_p, (19.2,-72.7)))
opamp_r2r_abamp.add(gdstk.Reference(cont_p, (21.8,-72.7)))
opamp_r2r_abamp.add(gdstk.Reference(cont_p, (24.4,-72.7)))
opamp_r2r_abamp.add(gdstk.Reference(cont_p, (27,-72.7)))
opamp_r2r_abamp.add(gdstk.Reference(cont_p, (29.6,-72.7)))
opamp_r2r_abamp.add(gdstk.Reference(cont_p, (32.2,-72.7)))
opamp_r2r_abamp.add(gdstk.Reference(cont_p, (34.8,-72.7)))
opamp_r2r_abamp.add(gdstk.Reference(cont_p, (37.4,-72.7)))
opamp_r2r_abamp.add(gdstk.Reference(cont_p, (40,-72.7)))
opamp_r2r_abamp.add(gdstk.Reference(cont_p, (42.6,-72.7)))
opamp_r2r_abamp.add(gdstk.Reference(cont_p, (45.2,-72.7)))
opamp_r2r_abamp.add(gdstk.Reference(cont_p, (47.8,-72.7)))
opamp_r2r_abamp.add(gdstk.Reference(via_1, (-41.2,-75.7)))
opamp_r2r_abamp.add(gdstk.Reference(cont_p, (151.8,-70.1)))
opamp_r2r_abamp.add(gdstk.Reference(cont_p, (151.8,-72.7)))
opamp_r2r_abamp.add(gdstk.Reference(cont_p, (151.8,-67.5)))
opamp_r2r_abamp.add(gdstk.Reference(cont_p, (53,-72.7)))
opamp_r2r_abamp.add(gdstk.Reference(cont_p, (55.6,-72.7)))
opamp_r2r_abamp.add(gdstk.Reference(cont_p, (58.2,-72.7)))
opamp_r2r_abamp.add(gdstk.Reference(cont_p, (60.8,-72.7)))
opamp_r2r_abamp.add(gdstk.Reference(cont_p, (63.4,-72.7)))
opamp_r2r_abamp.add(gdstk.Reference(cont_p, (66,-72.7)))
opamp_r2r_abamp.add(gdstk.Reference(cont_p, (68.6,-72.7)))
opamp_r2r_abamp.add(gdstk.Reference(cont_p, (71.2,-72.7)))
opamp_r2r_abamp.add(gdstk.Reference(cont_p, (73.8,-72.7)))
opamp_r2r_abamp.add(gdstk.Reference(cont_p, (76.4,-72.7)))
opamp_r2r_abamp.add(gdstk.Reference(cont_p, (79,-72.7)))
opamp_r2r_abamp.add(gdstk.Reference(cont_p, (81.6,-72.7)))
opamp_r2r_abamp.add(gdstk.Reference(cont_p, (84.2,-72.7)))
opamp_r2r_abamp.add(gdstk.Reference(cont_p, (86.8,-72.7)))
opamp_r2r_abamp.add(gdstk.Reference(cont_p, (89.4,-72.7)))
opamp_r2r_abamp.add(gdstk.Reference(cont_p, (92,-72.7)))
opamp_r2r_abamp.add(gdstk.Reference(cont_p, (94.6,-72.7)))
opamp_r2r_abamp.add(gdstk.Reference(cont_p, (97.2,-72.7)))
opamp_r2r_abamp.add(gdstk.Reference(cont_p, (99.8,-72.7)))
opamp_r2r_abamp.add(gdstk.Reference(cont_p, (102.4,-72.7)))
opamp_r2r_abamp.add(gdstk.Reference(cont_p, (105,-72.7)))
opamp_r2r_abamp.add(gdstk.Reference(cont_p, (107.6,-72.7)))
opamp_r2r_abamp.add(gdstk.Reference(cont_p, (110.2,-72.7)))
opamp_r2r_abamp.add(gdstk.Reference(cont_p, (112.8,-72.7)))
opamp_r2r_abamp.add(gdstk.Reference(cont_p, (115.4,-72.7)))
opamp_r2r_abamp.add(gdstk.Reference(cont_p, (118,-72.7)))
opamp_r2r_abamp.add(gdstk.Reference(cont_p, (120.6,-72.7)))
opamp_r2r_abamp.add(gdstk.Reference(cont_p, (123.2,-72.7)))
opamp_r2r_abamp.add(gdstk.Reference(cont_p, (125.8,-72.7)))
opamp_r2r_abamp.add(gdstk.Reference(cont_p, (128.4,-72.7)))
opamp_r2r_abamp.add(gdstk.Reference(cont_p, (131,-72.7)))
opamp_r2r_abamp.add(gdstk.Reference(cont_p, (133.6,-72.7)))
opamp_r2r_abamp.add(gdstk.Reference(cont_p, (136.2,-72.7)))
opamp_r2r_abamp.add(gdstk.Reference(cont_p, (138.8,-72.7)))
opamp_r2r_abamp.add(gdstk.Reference(cont_p, (141.4,-72.7)))
opamp_r2r_abamp.add(gdstk.Reference(cont_p, (144,-72.7)))
opamp_r2r_abamp.add(gdstk.Reference(cont_p, (146.6,-72.7)))
opamp_r2r_abamp.add(gdstk.Reference(cont_p, (149.2,-72.7)))
opamp_r2r_abamp.add(gdstk.Label('OUT', (138.3,-15.2), layer=48, texttype=0))
opamp_r2r_abamp.add(gdstk.Label('AB_P', (-260,93.8), layer=48, texttype=0))
opamp_r2r_abamp.add(gdstk.Label('CAP_P', (-259.7,34), layer=48, texttype=0))
opamp_r2r_abamp.add(gdstk.Label('CAP_N', (-259.8,-65.5), layer=48, texttype=0))
opamp_r2r_abamp.add(gdstk.Label('AB_N', (-258.9,-127.1), layer=48, texttype=0))
opamp_r2r_abamp.add(gdstk.Label('VDD', (-46,105.2), layer=49, texttype=0))
opamp_r2r_abamp.add(gdstk.Label('VSS', (-45.5,-148.2), layer=49, texttype=0))

lib.write_gds('opamp_r2r_ABAMP.gds')
